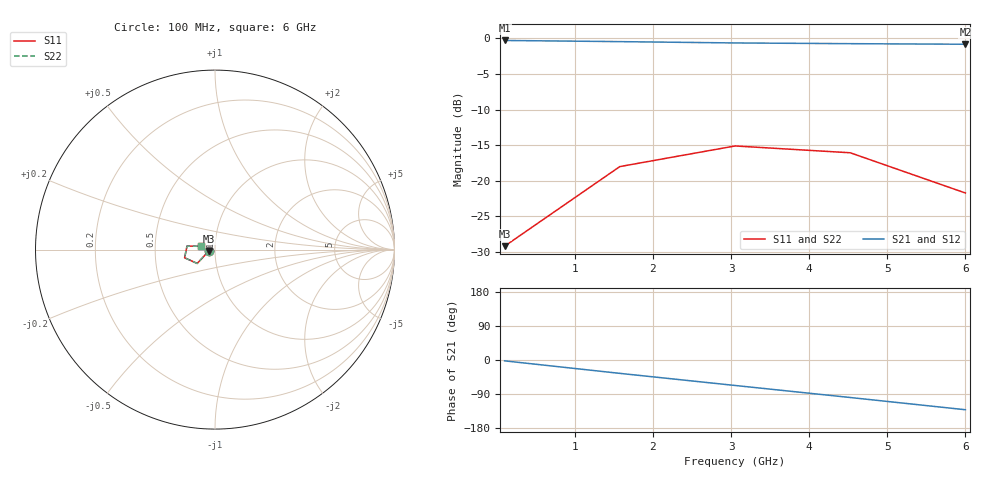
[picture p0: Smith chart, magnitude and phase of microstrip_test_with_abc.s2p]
! Generated by EMerge - 2-port S-parameters
! File generated: 2026-08-03 11:43
# GHz S RI R 50
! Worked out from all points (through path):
!   5 points, 100 MHz to 6 GHz, reference 50 ohm
!   highest |S21| = -0.30 dB at 100 MHz (marker M1); lowest = -0.8 dB at 6 GHz (marker M2)
!   lowest |S11| = -29.2 dB at 100 MHz (marker M3), VSWR 1.07, Z = 46.7 - j0.681 ohm
!   |S11| at or under -10 dB: start of sweep to end of sweep
!   |S22| runs from -29.2 to -15.1 dB; largest |S21 - S12| = 5.7e-05
0.1  -0.0339 -0.00728  0.9654 -0.0383  0.9654 -0.0383  -0.0339 -0.00728
1.575  -0.0992 -0.0771  0.7741 -0.5472  0.7741 -0.5472  -0.0993 -0.0772
3.05  -0.1694 -0.0455  0.3597 -0.8555  0.3596 -0.8555  -0.1695 -0.0454
4.525  -0.1559 0.0197  -0.1429 -0.9061  -0.1429 -0.9061  -0.1558 0.0196
6  -0.0799 0.0184  -0.599 -0.6833  -0.5991 -0.6833  -0.0799 0.0181
